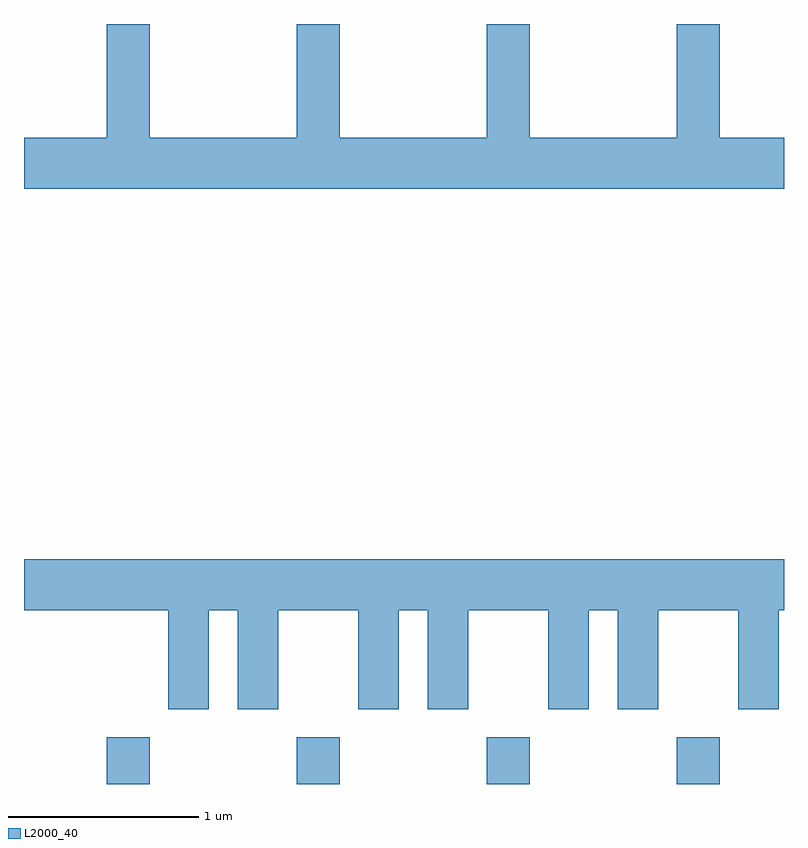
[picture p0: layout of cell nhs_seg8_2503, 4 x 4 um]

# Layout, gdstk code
import gdstk
lib = gdstk.Library(unit=1e-6, precision=1e-09)
def R(c, l, rs):  # rectangles x0, y0, x1, y1
    for r in rs: c.add(gdstk.rectangle(r[:2], r[2:], *l))
def A(c, l, x, y, w, h, nx, ny, dx, dy):  # array of equal rectangles
    R(c, l, [(x+i*dx, y+j*dy, x+i*dx+w, y+j*dy+h) for i in range(nx) for j in range(ny)])
def P(c, l, *ps):  # polygons
    for p in ps: c.add(gdstk.Polygon(p, *l))
L2000_40 = (2000, 40)

nhs_seg8_2503 = lib.new_cell('nhs_seg8_2503')
A(nhs_seg8_2503, L2000_40, 260.046, 1884.342, 0.228, 0.247, 4, 1, 1, 0)
P(nhs_seg8_2503, L2000_40, [(263.611,1887.744),(263.274,1887.744),(263.274,1888.342),(263.046,1888.342),(263.046,1887.744),(262.274,1887.744),(262.274,1888.342),(262.046,1888.342),(262.046,1887.744),(261.274,1887.744),(261.274,1888.342),(261.046,1888.342),(261.046,1887.744),(260.274,1887.744),(260.274,1888.342),(260.046,1888.342),(260.046,1887.744),(259.611,1887.744),(259.611,1887.476),(263.611,1887.476)],
  [(260.584,1885.256),(260.736,1885.256),(260.736,1884.736),(260.949,1884.736),(260.949,1885.256),(261.371,1885.256),(261.371,1884.736),(261.584,1884.736),(261.584,1885.256),(261.736,1885.256),(261.736,1884.736),(261.949,1884.736),(261.949,1885.256),(262.371,1885.256),(262.371,1884.736),(262.584,1884.736),(262.584,1885.256),(262.736,1885.256),(262.736,1884.736),(262.949,1884.736),(262.949,1885.256),(263.371,1885.256),(263.371,1884.736),(263.584,1884.736),(263.584,1885.256),(263.611,1885.256),(263.611,1885.524),(259.611,1885.524),(259.611,1885.256),(260.371,1885.256),(260.371,1884.736),(260.584,1884.736)])

lib.write_gds('nhs_seg8_2503.gds')
